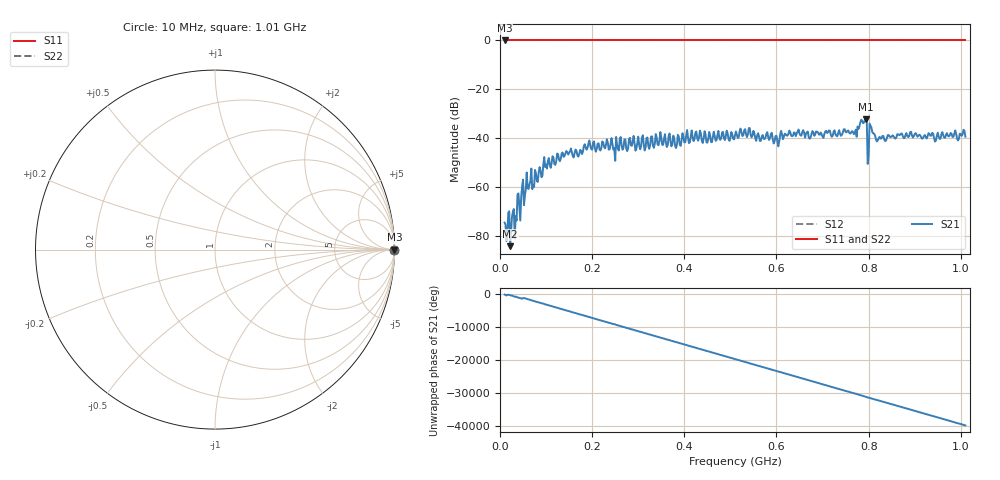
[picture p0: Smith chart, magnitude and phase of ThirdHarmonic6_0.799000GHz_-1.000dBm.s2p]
! 8/16/2025 2:39:13 AM
! C:\ANRITSUVNA\TEMP\TEMP.S2P
! CHANNEL.1
! TR.MEASUREMENT
! RAW.DATA
! RF.CORRECTION.OFF
! AVERAGING.OFF
! IF.BANDWIDTH: 5KHZ
! SWEEPTYPE:  FREQ.SWEEP(Linear)
! Reference Plane Port Info
! PORT:  PORT1  PORT2
! DISTANCE:  0  m  0  m
! TIME:  0  s  0  s
! PHASE.OFFSET:  0  deg.  0  deg.
! LOSS:  0  dB  0  dB
! REF.LOSS:  0  dB  0  dB
! REF.FREQ:  0  Hz  0  Hz
! Power Info
! POWER:  -20  dBm  -20  dBm
! EFF.POWER:  -20  dBm  -20  dBm
! SOURCE.ATTEN:  0  dB  0  dB
! TEST.ATTEN:  0  dB  0  dB
# GHZ S RI R 50.0
! FREQ.GHZ  S11RE  S11IM  S21RE  S21IM  S12RE  S12IM  S22RE  S22IM
!; PortSelection: Port_12
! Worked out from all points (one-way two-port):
!   501 points, 10 MHz to 1.01 GHz, reference 50 ohm
!   highest |S21| = -32.15 dB at 794 MHz (marker M1); lowest = -84.0 dB at 22 MHz (marker M2)
!   lowest |S11| = 0.0 dB at 10 MHz (marker M3)
!   |S11| at or under -10 dB: nowhere
!   |S22| runs from 0.0 to 0.0 dB; largest |S21 - S12| = 1
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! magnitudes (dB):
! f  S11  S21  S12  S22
! 10 MHz  0.0  -74.4  0.0  0.0
! 22 MHz  0.0  -84.0  0.0  0.0
! 32 MHz  0.0  -80.9  0.0  0.0
! 38 MHz  0.0  -62.9  0.0  0.0
! 54 MHz  0.0  -63.5  0.0  0.0
! 98 MHz  0.0  -51.7  0.0  0.0
! 178 MHz  0.0  -46.4  0.0  0.0
! 344 MHz  0.0  -42.8  0.0  0.0
! 510 MHz  0.0  -38.8  0.0  0.0
! 542 MHz  0.0  -35.8  0.0  0.0
! 602 MHz  0.0  -41.1  0.0  0.0
! 626 MHz  0.0  -38.1  0.0  0.0
! 678 MHz  0.0  -37.0  0.0  0.0
! 770 MHz  0.0  -37.9  0.0  0.0
! 790 MHz  0.0  -33.5  0.0  0.0
! 794 MHz  0.0  -32.2  0.0  0.0
! 796 MHz  0.0  -33.3  0.0  0.0
! 802 MHz  0.0  -33.9  0.0  0.0
! 806 MHz  0.0  -35.6  0.0  0.0
! 818 MHz  0.0  -41.2  0.0  0.0
! 844 MHz  0.0  -38.7  0.0  0.0
! 1.01 GHz  0.0  -39.3  0.0  0.0
